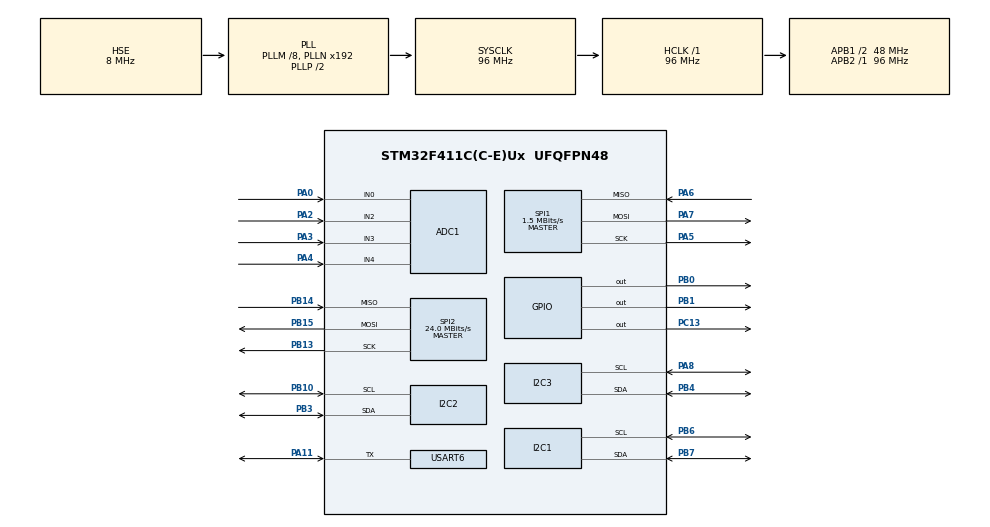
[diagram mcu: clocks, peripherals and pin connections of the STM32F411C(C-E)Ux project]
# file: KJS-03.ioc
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ADC1.Channel-0\#ChannelRegularConversion=ADC_CHANNEL_0
ADC1.Channel-1\#ChannelRegularConversion=ADC_CHANNEL_2
ADC1.Channel-2\#ChannelRegularConversion=ADC_CHANNEL_3
ADC1.Channel-3\#ChannelRegularConversion=ADC_CHANNEL_4
ADC1.NbrOfConversion=4
ADC1.NbrOfConversionFlag=1
ADC1.Rank-0\#ChannelRegularConversion=1
ADC1.Rank-1\#ChannelRegularConversion=2
ADC1.Rank-2\#ChannelRegularConversion=3
ADC1.Rank-3\#ChannelRegularConversion=4
ADC1.SamplingTime-0\#ChannelRegularConversion=ADC_SAMPLETIME_84CYCLES
ADC1.SamplingTime-1\#ChannelRegularConversion=ADC_SAMPLETIME_84CYCLES
ADC1.SamplingTime-2\#ChannelRegularConversion=ADC_SAMPLETIME_84CYCLES
ADC1.SamplingTime-3\#ChannelRegularConversion=ADC_SAMPLETIME_84CYCLES
ADC1.master=1
Dma.Request0=USART6_RX
Dma.USART6_RX.0.Direction=DMA_PERIPH_TO_MEMORY
Dma.USART6_RX.0.FIFOMode=DMA_FIFOMODE_DISABLE
Dma.USART6_RX.0.Instance=DMA2_Stream1
Dma.USART6_RX.0.MemDataAlignment=DMA_MDATAALIGN_BYTE
Dma.USART6_RX.0.MemInc=DMA_MINC_ENABLE
Dma.USART6_RX.0.Mode=DMA_CIRCULAR
Dma.USART6_RX.0.PeriphDataAlignment=DMA_PDATAALIGN_BYTE
Dma.USART6_RX.0.PeriphInc=DMA_PINC_DISABLE
Dma.USART6_RX.0.Priority=DMA_PRIORITY_LOW
FREERTOS.MEMORY_ALLOCATION=0
FREERTOS.Tasks01=ICSTask,2,1000,StartICSTask,Default,NULL,Dynamic,NULL,NULL;LEDTask,-3,128,StartLEDTask,Default,NULL,Dynamic,NULL,NULL;IMUTask,-3,128,StartIMUTask,Default,NULL,Dynamic,NULL,NULL;PSTask,-3,128,StartPSTask,Default,NULL,Dynamic,NULL,NULL;ADCTask,-3,128,StartADCTask,Default,NULL,Dynamic,NULL,NULL;TXBUFFTask,-3,128,StartTXBUFFTask,Default,NULL,Dynamic,NULL,NULL
FREERTOS.configENABLE_FPU=1
I2C2.NoStretchMode=I2C_NOSTRETCH_ENABLE
Mcu.Family=STM32F4
Mcu.Name=STM32F411C(C-E)Ux
Mcu.Package=UFQFPN48
NVIC.DMA2_Stream1_IRQn=true\:5\:0\:false\:false\:true\:true\:false\:true
NVIC.PriorityGroup=NVIC_PRIORITYGROUP_4
NVIC.TIM1_UP_TIM10_IRQn=true\:0\:0\:false\:false\:true\:false\:false\:true
NVIC.TimeBase=TIM1_UP_TIM10_IRQn
NVIC.TimeBaseIP=TIM1
NVIC.USART6_IRQn=true\:5\:0\:false\:false\:true\:true\:true\:true
PA0-WKUP.Signal=ADCx_IN0
PA11.GPIO_PuPd=GPIO_PULLUP
PA11.Mode=Half_duplex(single_wire_mode)
PA11.Signal=USART6_TX
PA13.Mode=Serial_Wire
PA13.Signal=SYS_JTMS-SWDIO
PA14.Mode=Serial_Wire
PA14.Signal=SYS_JTCK-SWCLK
PA2.Signal=ADCx_IN2
PA3.Signal=ADCx_IN3
PA4.Signal=ADCx_IN4
PA5.Mode=Full_Duplex_Master
PA5.Signal=SPI1_SCK
PA6.Mode=Full_Duplex_Master
PA6.Signal=SPI1_MISO
PA7.Mode=Full_Duplex_Master
PA7.Signal=SPI1_MOSI
PA8.Mode=I2C
PA8.Signal=I2C3_SCL
PB0.Signal=GPIO_Output
PB1.Signal=GPIO_Output
PB10.Mode=I2C
PB10.Signal=I2C2_SCL
PB13.Mode=Full_Duplex_Master
PB13.Signal=SPI2_SCK
PB14.Mode=Full_Duplex_Master
PB14.Signal=SPI2_MISO
PB15.Mode=Full_Duplex_Master
PB15.Signal=SPI2_MOSI
PB3.Mode=I2C
PB3.Signal=I2C2_SDA
PB4.Mode=I2C
PB4.Signal=I2C3_SDA
PB6.Mode=I2C
PB6.Signal=I2C1_SCL
PB7.Mode=I2C
PB7.Signal=I2C1_SDA
PC13-ANTI_TAMP.Signal=GPIO_Output
PH0\ -\ OSC_IN.Mode=HSE-External-Oscillator
PH0\ -\ OSC_IN.Signal=RCC_OSC_IN
PH1\ -\ OSC_OUT.Mode=HSE-External-Oscillator
PH1\ -\ OSC_OUT.Signal=RCC_OSC_OUT
ProjectManager.HeapSize=0x200
ProjectManager.StackSize=0x400
ProjectManager.TargetToolchain=STM32CubeIDE
RCC.48MHZClocksFreq_Value=48000000
RCC.AHBFreq_Value=96000000
RCC.APB1CLKDivider=RCC_HCLK_DIV2
RCC.APB1Freq_Value=48000000
RCC.APB1TimFreq_Value=96000000
RCC.APB2Freq_Value=96000000
RCC.APB2TimFreq_Value=96000000
RCC.CortexFreq_Value=96000000
RCC.HCLKFreq_Value=96000000
RCC.HSE_VALUE=8000000
RCC.HSI_VALUE=16000000
RCC.LSE_VALUE=32768
RCC.PLLM=8
RCC.PLLSourceVirtual=RCC_PLLSOURCE_HSE
RCC.SYSCLKFreq_VALUE=96000000
RCC.SYSCLKSource=RCC_SYSCLKSOURCE_PLLCLK
RCC.VCOOutputFreq_Value=192000000
SH.ADCx_IN0.0=ADC1_IN0,IN0
SH.ADCx_IN2.0=ADC1_IN2,IN2
SH.ADCx_IN3.0=ADC1_IN3,IN3
SH.ADCx_IN4.0=ADC1_IN4,IN4
SPI1.BaudRatePrescaler=SPI_BAUDRATEPRESCALER_64
SPI1.CalculateBaudRate=1.5 MBits/s
SPI1.Direction=SPI_DIRECTION_2LINES
SPI1.Mode=SPI_MODE_MASTER
SPI1.VirtualType=VM_MASTER
SPI2.BaudRatePrescaler=SPI_BAUDRATEPRESCALER_2
SPI2.CalculateBaudRate=24.0 MBits/s
SPI2.Direction=SPI_DIRECTION_2LINES
SPI2.Mode=SPI_MODE_MASTER
SPI2.VirtualType=VM_MASTER
USART6.BaudRate=1250000
USART6.OverSampling=UART_OVERSAMPLING_16
USART6.Parity=PARITY_EVEN
USART6.VirtualMode=VM_ASYNC
USART6.WordLength=WORDLENGTH_9B
VP_FREERTOS_VS_CMSIS_V1.Mode=CMSIS_V1
VP_SYS_VS_tim1.Mode=TIM1
board=custom

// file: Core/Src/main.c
/* USER CODE BEGIN Header */
/**
  ******************************************************************************
  * @file           : main.c
  * @brief          : Main program body
  ******************************************************************************
  * @attention
  *
  * <h2><center>&copy; Copyright (c) 2021 STMicroelectronics.
  * All rights reserved.</center></h2>
  *
  * This software component is licensed by ST under BSD 3-Clause license,
  * the "License"; You may not use this file except in compliance with the
  * License. You may obtain a copy of the License at:
  *                        opensource.org/licenses/BSD-3-Clause
  *
  ******************************************************************************
  */
/* USER CODE END Header */
#include "main.h"
#include "cmsis_os.h"

/* USER CODE BEGIN Includes */
#include "ics.h"
/* USER CODE END Includes */

ADC_HandleTypeDef hadc1;

I2C_HandleTypeDef hi2c1;
I2C_HandleTypeDef hi2c2;
I2C_HandleTypeDef hi2c3;

SPI_HandleTypeDef hspi1;
SPI_HandleTypeDef hspi2;

UART_HandleTypeDef huart6;
DMA_HandleTypeDef hdma_usart6_rx;

osThreadId ICSTaskHandle;
osThreadId LEDTaskHandle;
osThreadId IMUTaskHandle;
osThreadId PSTaskHandle;
osThreadId ADCTaskHandle;
osThreadId TXBUFFTaskHandle;

void SystemClock_Config(void);
static void MX_GPIO_Init(void);
static void MX_DMA_Init(void);
static void MX_ADC1_Init(void);
static void MX_I2C1_Init(void);
static void MX_I2C2_Init(void);
static void MX_I2C3_Init(void);
static void MX_SPI1_Init(void);
static void MX_USART6_UART_Init(void);
static void MX_SPI2_Init(void);
void StartICSTask(void const * argument);
void StartLEDTask(void const * argument);
void StartIMUTask(void const * argument);
void StartPSTask(void const * argument);
void StartADCTask(void const * argument);
void StartTXBUFFTask(void const * argument);

/* USER CODE BEGIN PFP */
void mpuWrite(uint8_t, uint8_t);
void ps_select_channel();
void ps_init();
void imu_init();
void ps_update();
void ps_update_single();
void imu_update();
void adc_update();
void sw_update();
void initialise_monitor_handles(void);
uint32_t UART_IsEnabledIT_RX();
uint8_t getlen();
void ics_init();
void ics_init_DMA();
void txbuff_update();

extern uint32_t current_time;
extern uint32_t receive_time1;
extern uint32_t receive_time2;
extern uint32_t receive_time3;
extern uint32_t getUs(void);
extern uint8_t flagRcved;

// dma buffer
static UART_HandleTypeDef *huart_cobs;
#define RX_DMA_WRITE_IDX ( (RX_CIRC_BUF_SZ - ((DMA_Stream_TypeDef *)huart_cobs->hdmarx->Instance)->NDTR) & (RX_CIRC_BUF_SZ - 1) )
//#define RX_DMA_WRITE_IDX ( (RX_CIRC_BUF_SZ - ((DMA_Stream_TypeDef *)huart6.hdmarx->Instance)->NDTR) & (RX_CIRC_BUF_SZ - 1) )

/* USER CODE END PFP */

/* USER CODE BEGIN 0 */
//static uint16_t ADC_Data1[ADC_CHANNEL_NUM];
/* USER CODE END 0 */

int main(void)
{

  /* MCU Configuration--------------------------------------------------------*/

  /* Reset of all peripherals, Initializes the Flash interface and the Systick. */
  HAL_Init();

  /* Configure the system clock */
  SystemClock_Config();

  /* Initialize all configured peripherals */
  MX_GPIO_Init();
  MX_DMA_Init();
  MX_ADC1_Init();
  MX_I2C1_Init();
  MX_I2C2_Init();
  MX_I2C3_Init();
  MX_SPI1_Init();
  MX_USART6_UART_Init();
  MX_SPI2_Init();
  /* USER CODE BEGIN 2 */

  sp.id = 19;

  sp.mode = SC_ALL;//initial value, update all sensor

  sp.board_select = SELECT_revA;
  sp.imu_select = SELECT_ICM_20600;

  sp.it_count = 0;
  sp.uart_error_count = 0;
  sp.check2com_delay = 0;
  sp.count_frame = 0;
  sp.prev_frame = getUs();
  sp.com_en = 0;
  sp.ics_timeout_count = 0;

#if USE_SEMIHOSTING
  initialise_monitor_handles();
#endif

	ics_init_DMA(&huart6);

   if (HAL_ADC_Start(&hadc1) !=  HAL_OK)
   {
  	  Error_Handler();
    }
  	//ics_init(&huart6);

    ps_init(&hi2c2);

    imu_init(&hspi1);

    //receive_time1 = receive_time2 = receive_time3 = getUs();

    //receive_time1: past toggle time
    //receive_time2: past uart_rx interrupt time
    //receive_time3: past receive ics command time

    HAL_HalfDuplex_EnableReceiver(&huart6);
  /* USER CODE END 2 */

  /* Create the thread(s) */
  /* definition and creation of ICSTask */
  osThreadDef(ICSTask, StartICSTask, osPriorityHigh, 0, 1000);
  ICSTaskHandle = osThreadCreate(osThread(ICSTask), NULL);

  /* definition and creation of LEDTask */
  osThreadDef(LEDTask, StartLEDTask, osPriorityIdle, 0, 128);
  LEDTaskHandle = osThreadCreate(osThread(LEDTask), NULL);

  /* definition and creation of IMUTask */
  osThreadDef(IMUTask, StartIMUTask, osPriorityIdle, 0, 128);
  IMUTaskHandle = osThreadCreate(osThread(IMUTask), NULL);

  /* definition and creation of PSTask */
  osThreadDef(PSTask, StartPSTask, osPriorityIdle, 0, 128);
  PSTaskHandle = osThreadCreate(osThread(PSTask), NULL);

  /* definition and creation of ADCTask */
  osThreadDef(ADCTask, StartADCTask, osPriorityIdle, 0, 128);
  ADCTaskHandle = osThreadCreate(osThread(ADCTask), NULL);

  /* definition and creation of TXBUFFTask */
  osThreadDef(TXBUFFTask, StartTXBUFFTask, osPriorityIdle, 0, 128);
  TXBUFFTaskHandle = osThreadCreate(osThread(TXBUFFTask), NULL);

  /* Start scheduler */
  osKernelStart();

  /* We should never get here as control is now taken by the scheduler */
  /* Infinite loop */
  while (1)
  {

  }
}

void SystemClock_Config(void)
{
  RCC_OscInitTypeDef RCC_OscInitStruct = {0};
  RCC_ClkInitTypeDef RCC_ClkInitStruct = {0};

  /** Configure the main internal regulator output voltage
  */
  __HAL_RCC_PWR_CLK_ENABLE();
  __HAL_PWR_VOLTAGESCALING_CONFIG(PWR_REGULATOR_VOLTAGE_SCALE1);
  /** Initializes the RCC Oscillators according to the specified parameters
  * in the RCC_OscInitTypeDef structure.
  */
  RCC_OscInitStruct.OscillatorType = RCC_OSCILLATORTYPE_HSE;
  RCC_OscInitStruct.HSEState = RCC_HSE_ON;
  RCC_OscInitStruct.PLL.PLLState = RCC_PLL_ON;
  RCC_OscInitStruct.PLL.PLLSource = RCC_PLLSOURCE_HSE;
  RCC_OscInitStruct.PLL.PLLM = 8;
  RCC_OscInitStruct.PLL.PLLN = 192;
  RCC_OscInitStruct.PLL.PLLP = RCC_PLLP_DIV2;
  RCC_OscInitStruct.PLL.PLLQ = 4;
  if (HAL_RCC_OscConfig(&RCC_OscInitStruct) != HAL_OK)
  {
    Error_Handler();
  }
  /** Initializes the CPU, AHB and APB buses clocks
  */
  RCC_ClkInitStruct.ClockType = RCC_CLOCKTYPE_HCLK|RCC_CLOCKTYPE_SYSCLK
                              |RCC_CLOCKTYPE_PCLK1|RCC_CLOCKTYPE_PCLK2;
  RCC_ClkInitStruct.SYSCLKSource = RCC_SYSCLKSOURCE_PLLCLK;
  RCC_ClkInitStruct.AHBCLKDivider = RCC_SYSCLK_DIV1;
  RCC_ClkInitStruct.APB1CLKDivider = RCC_HCLK_DIV2;
  RCC_ClkInitStruct.APB2CLKDivider = RCC_HCLK_DIV1;

  if (HAL_RCC_ClockConfig(&RCC_ClkInitStruct, FLASH_LATENCY_3) != HAL_OK)
  {
    Error_Handler();
  }
}

static void MX_ADC1_Init(void)
{

  ADC_ChannelConfTypeDef sConfig = {0};

  /** Configure the global features of the ADC (Clock, Resolution, Data Alignment and number of conversion)
  */
  hadc1.Instance = ADC1;
  hadc1.Init.ClockPrescaler = ADC_CLOCK_SYNC_PCLK_DIV4;
  hadc1.Init.Resolution = ADC_RESOLUTION_12B;
  hadc1.Init.ScanConvMode = ENABLE;
  hadc1.Init.ContinuousConvMode = DISABLE;
  hadc1.Init.DiscontinuousConvMode = DISABLE;
  hadc1.Init.ExternalTrigConvEdge = ADC_EXTERNALTRIGCONVEDGE_NONE;
  hadc1.Init.ExternalTrigConv = ADC_SOFTWARE_START;
  hadc1.Init.DataAlign = ADC_DATAALIGN_RIGHT;
  hadc1.Init.NbrOfConversion = 4;
  hadc1.Init.DMAContinuousRequests = DISABLE;
  hadc1.Init.EOCSelection = ADC_EOC_SINGLE_CONV;
  if (HAL_ADC_Init(&hadc1) != HAL_OK)
  {
    Error_Handler();
  }
  /** Configure for the selected ADC regular channel its corresponding rank in the sequencer and its sample time.
  */
  sConfig.Channel = ADC_CHANNEL_0;
  sConfig.Rank = 1;
  sConfig.SamplingTime = ADC_SAMPLETIME_84CYCLES;
  if (HAL_ADC_ConfigChannel(&hadc1, &sConfig) != HAL_OK)
  {
    Error_Handler();
  }
  /** Configure for the selected ADC regular channel its corresponding rank in the sequencer and its sample time.
  */
  sConfig.Channel = ADC_CHANNEL_2;
  sConfig.Rank = 2;
  if (HAL_ADC_ConfigChannel(&hadc1, &sConfig) != HAL_OK)
  {
    Error_Handler();
  }
  /** Configure for the selected ADC regular channel its corresponding rank in the sequencer and its sample time.
  */
  sConfig.Channel = ADC_CHANNEL_3;
  sConfig.Rank = 3;
  if (HAL_ADC_ConfigChannel(&hadc1, &sConfig) != HAL_OK)
  {
    Error_Handler();
  }
  /** Configure for the selected ADC regular channel its corresponding rank in the sequencer and its sample time.
  */
  sConfig.Channel = ADC_CHANNEL_4;
  sConfig.Rank = 4;
  if (HAL_ADC_ConfigChannel(&hadc1, &sConfig) != HAL_OK)
  {
    Error_Handler();
  }

}

static void MX_I2C1_Init(void)
{

  hi2c1.Instance = I2C1;
  hi2c1.Init.ClockSpeed = 100000;
  hi2c1.Init.DutyCycle = I2C_DUTYCYCLE_2;
  hi2c1.Init.OwnAddress1 = 0;
  hi2c1.Init.AddressingMode = I2C_ADDRESSINGMODE_7BIT;
  hi2c1.Init.DualAddressMode = I2C_DUALADDRESS_DISABLE;
  hi2c1.Init.OwnAddress2 = 0;
  hi2c1.Init.GeneralCallMode = I2C_GENERALCALL_DISABLE;
  hi2c1.Init.NoStretchMode = I2C_NOSTRETCH_DISABLE;
  if (HAL_I2C_Init(&hi2c1) != HAL_OK)
  {
    Error_Handler();
  }

}

static void MX_I2C2_Init(void)
{

  hi2c2.Instance = I2C2;
  hi2c2.Init.ClockSpeed = 100000;
  hi2c2.Init.DutyCycle = I2C_DUTYCYCLE_2;
  hi2c2.Init.OwnAddress1 = 0;
  hi2c2.Init.AddressingMode = I2C_ADDRESSINGMODE_7BIT;
  hi2c2.Init.DualAddressMode = I2C_DUALADDRESS_DISABLE;
  hi2c2.Init.OwnAddress2 = 0;
  hi2c2.Init.GeneralCallMode = I2C_GENERALCALL_DISABLE;
  hi2c2.Init.NoStretchMode = I2C_NOSTRETCH_ENABLE;
  if (HAL_I2C_Init(&hi2c2) != HAL_OK)
  {
    Error_Handler();
  }

}

static void MX_I2C3_Init(void)
{

  hi2c3.Instance = I2C3;
  hi2c3.Init.ClockSpeed = 100000;
  hi2c3.Init.DutyCycle = I2C_DUTYCYCLE_2;
  hi2c3.Init.OwnAddress1 = 0;
  hi2c3.Init.AddressingMode = I2C_ADDRESSINGMODE_7BIT;
  hi2c3.Init.DualAddressMode = I2C_DUALADDRESS_DISABLE;
  hi2c3.Init.OwnAddress2 = 0;
  hi2c3.Init.GeneralCallMode = I2C_GENERALCALL_DISABLE;
  hi2c3.Init.NoStretchMode = I2C_NOSTRETCH_DISABLE;
  if (HAL_I2C_Init(&hi2c3) != HAL_OK)
  {
    Error_Handler();
  }

}

static void MX_SPI1_Init(void)
{

  /* SPI1 parameter configuration*/
  hspi1.Instance = SPI1;
  hspi1.Init.Mode = SPI_MODE_MASTER;
  hspi1.Init.Direction = SPI_DIRECTION_2LINES;
  hspi1.Init.DataSize = SPI_DATASIZE_8BIT;
  hspi1.Init.CLKPolarity = SPI_POLARITY_LOW;
  hspi1.Init.CLKPhase = SPI_PHASE_1EDGE;
  hspi1.Init.NSS = SPI_NSS_SOFT;
  hspi1.Init.BaudRatePrescaler = SPI_BAUDRATEPRESCALER_64;
  hspi1.Init.FirstBit = SPI_FIRSTBIT_MSB;
  hspi1.Init.TIMode = SPI_TIMODE_DISABLE;
  hspi1.Init.CRCCalculation = SPI_CRCCALCULATION_DISABLE;
  hspi1.Init.CRCPolynomial = 10;
  if (HAL_SPI_Init(&hspi1) != HAL_OK)
  {
    Error_Handler();
  }

}

static void MX_SPI2_Init(void)
{

  /* SPI2 parameter configuration*/
  hspi2.Instance = SPI2;
  hspi2.Init.Mode = SPI_MODE_MASTER;
  hspi2.Init.Direction = SPI_DIRECTION_2LINES;
  hspi2.Init.DataSize = SPI_DATASIZE_8BIT;
  hspi2.Init.CLKPolarity = SPI_POLARITY_LOW;
  hspi2.Init.CLKPhase = SPI_PHASE_1EDGE;
  hspi2.Init.NSS = SPI_NSS_SOFT;
  hspi2.Init.BaudRatePrescaler = SPI_BAUDRATEPRESCALER_2;
  hspi2.Init.FirstBit = SPI_FIRSTBIT_MSB;
  hspi2.Init.TIMode = SPI_TIMODE_DISABLE;
  hspi2.Init.CRCCalculation = SPI_CRCCALCULATION_DISABLE;
  hspi2.Init.CRCPolynomial = 10;
  if (HAL_SPI_Init(&hspi2) != HAL_OK)
  {
    Error_Handler();
  }

}

static void MX_USART6_UART_Init(void)
{

  huart6.Instance = USART6;
  huart6.Init.BaudRate = 1250000;
  huart6.Init.WordLength = UART_WORDLENGTH_9B;
  huart6.Init.StopBits = UART_STOPBITS_1;
  huart6.Init.Parity = UART_PARITY_EVEN;
  huart6.Init.Mode = UART_MODE_TX_RX;
  huart6.Init.HwFlowCtl = UART_HWCONTROL_NONE;
  huart6.Init.OverSampling = UART_OVERSAMPLING_16;
  if (HAL_HalfDuplex_Init(&huart6) != HAL_OK)
  {
    Error_Handler();
  }

}

static void MX_DMA_Init(void)
{

  /* DMA controller clock enable */
  __HAL_RCC_DMA2_CLK_ENABLE();

  /* DMA interrupt init */
  /* DMA2_Stream1_IRQn interrupt configuration */
  HAL_NVIC_SetPriority(DMA2_Stream1_IRQn, 5, 0);
  HAL_NVIC_EnableIRQ(DMA2_Stream1_IRQn);

}

static void MX_GPIO_Init(void)
{
  GPIO_InitTypeDef GPIO_InitStruct = {0};

  /* GPIO Ports Clock Enable */
  __HAL_RCC_GPIOC_CLK_ENABLE();
  __HAL_RCC_GPIOH_CLK_ENABLE();
  __HAL_RCC_GPIOA_CLK_ENABLE();
  __HAL_RCC_GPIOB_CLK_ENABLE();

  /*Configure GPIO pin Output Level */
  HAL_GPIO_WritePin(GPIOC, GPIO_PIN_13, GPIO_PIN_RESET);

  /*Configure GPIO pin Output Level */
  HAL_GPIO_WritePin(GPIOB, GPIO_PIN_0|GPIO_PIN_1, GPIO_PIN_RESET);

  /*Configure GPIO pin : PC13 */
  GPIO_InitStruct.Pin = GPIO_PIN_13;
  GPIO_InitStruct.Mode = GPIO_MODE_OUTPUT_PP;
  GPIO_InitStruct.Pull = GPIO_NOPULL;
  GPIO_InitStruct.Speed = GPIO_SPEED_FREQ_LOW;
  HAL_GPIO_Init(GPIOC, &GPIO_InitStruct);

  /*Configure GPIO pins : PB0 PB1 */
  GPIO_InitStruct.Pin = GPIO_PIN_0|GPIO_PIN_1;
  GPIO_InitStruct.Mode = GPIO_MODE_OUTPUT_PP;
  GPIO_InitStruct.Pull = GPIO_NOPULL;
  GPIO_InitStruct.Speed = GPIO_SPEED_FREQ_LOW;
  HAL_GPIO_Init(GPIOB, &GPIO_InitStruct);

}

/* USER CODE BEGIN 4 */
void HAL_UART_ErrorCallback_old(UART_HandleTypeDef *huart){
	sp.uart_error[0] = huart6.Lock;
	sp.uart_error[1] = huart6.gState;
	sp.uart_error[2] = huart6.RxState;
	sp.uart_error[3] = huart6.ErrorCode & 0x000000ff;
  //MX_GPIO_Init();
  HAL_UART_Abort(&huart6);
	//start HAL_UART_Abort
	//CLEAR_BIT(huart->Instance->CR1, (USART_CR1_RXNEIE | USART_CR1_PEIE | USART_CR1_TXEIE | USART_CR1_TCIE));
	//CLEAR_BIT(huart->Instance->CR3, USART_CR3_EIE);
	//end HAL_UART_Abort
  //MX_USART6_UART_Init();
  //CLEAR_BIT(huart->Instance->SR, (USART_SR_PE | USART_SR_FE | USART_SR_ORE | USART_SR_NE));
  //CLEAR_BIT(huart->Instance->SR, (USART_SR_ORE));

  //CLEAR_BIT(huart->Instance->CR1, (USART_CR1_RXNEIE | USART_CR1_PEIE));//minimum reset + RX_It reset
  //CLEAR_BIT(huart->Instance->CR1, (USART_CR1_PEIE));//minimum reset
  //huart6.RxState=HAL_UART_STATE_READY;
  //huart6.ErrorCode=HAL_UART_ERROR_NONE;
  //__HAL_UART_DISABLE_IT(huart, UART_IT_ERR);
  //  MX_I2C2_Init();
  //  ps_init(&hi2c1);
  HAL_HalfDuplex_EnableReceiver(&huart6);
  flagRcved = IT_FLAG_FALSE;

  if(sp.uart_error_count < 4096){
	  sp.uart_error_count += 1;
  }
  //sp.mode = SC_ALL; //initial value, update all sensor
  //NVIC_SystemReset();
}
void HAL_I2C_ErrorCallback(I2C_HandleTypeDef *hi2c){
  MX_GPIO_Init();
  MX_I2C2_Init();
  ps_init(&hi2c2);
  //sp.mode = SC_ALL; //initial value, update all sensor
}
void HAL_ADC_ErrorCallback(ADC_HandleTypeDef *hadc){
  MX_GPIO_Init();
  MX_ADC1_Init();
  if (HAL_ADC_Start(&hadc1) !=  HAL_OK)
    {
      Error_Handler();
    }
  //sp.mode = SC_ALL; //initial value, update all sensor
}
void HAL_SPI_ErrorCallback(SPI_HandleTypeDef *hspi){
  MX_GPIO_Init();
  MX_SPI1_Init();
  imu_init(&hspi1);
  //sp.mode = SC_ALL; //initial value, update all sensor
}

void ics_init_DMA(UART_HandleTypeDef *huart)
{
    huart_cobs = huart;
    memset(sp.rx_dma_circ_buf, 0, sizeof(sp.rx_dma_circ_buf));

    __HAL_UART_DISABLE_IT(huart_cobs, UART_IT_PE);//parity error interrupt
    __HAL_UART_DISABLE_IT(huart_cobs, UART_IT_ERR);//other error interrupt

    __HAL_UART_DISABLE_IT(huart_cobs, UART_IT_TXE); //txe interrupt
    __HAL_UART_DISABLE_IT(huart_cobs, UART_IT_TC); //transmission complete interrupt

    HAL_HalfDuplex_EnableTransmitter(huart_cobs);
    HAL_UART_Receive_DMA(huart_cobs, sp.rx_dma_circ_buf, RX_CIRC_BUF_SZ);
    memset(sp.txbuff, 0, sizeof(sp.txbuff));
    sp.txbuff[0] = 0x20 | sp.id;
    sp.rd_idx = 0;
}

void HAL_UART_ErrorCallback(UART_HandleTypeDef *huart)
{
	sp.uart_error[0] = huart6.Lock;
	sp.uart_error[1] = huart6.gState;
	sp.uart_error[2] = huart6.RxState;
	sp.uart_error[3] = huart6.ErrorCode & 0x000000ff;
	memset(sp.rx_dma_circ_buf, 0, sizeof(sp.rx_dma_circ_buf));

	HAL_UART_Abort(huart);

	if(sp.uart_error_count < 4096){
		sp.uart_error_count += 1;
	}else{
		sp.uart_error_count = 0;
	}
	//HAL_HalfDuplex_EnableReceiver(&huart6);
	HAL_HalfDuplex_EnableReceiver(huart_cobs);
	HAL_UART_Receive_DMA(huart_cobs, sp.rx_dma_circ_buf, RX_CIRC_BUF_SZ);
	sp.rd_idx = 0;
	//	_Error_Handler("isrSensors.c, uart error",53);
}
/* USER CODE END 4 */

void StartICSTask(void const * argument)
{
  /* USER CODE BEGIN 5 */
	uint8_t sensor_flag;
	uint8_t ret;
	uint8_t tx_length;
  /* Infinite loop */
  for(;;)
  {
	  sp.count_frame = getUs() - sp.prev_frame;
	  if (__HAL_UART_GET_FLAG(&huart6, UART_FLAG_ORE) ||
			  __HAL_UART_GET_FLAG(&huart6, UART_FLAG_NE) ||
			  __HAL_UART_GET_FLAG(&huart6, UART_FLAG_FE) ||
			  __HAL_UART_GET_FLAG(&huart6, UART_FLAG_PE) ){
		  HAL_UART_Abort(&huart6);
	  }
	  if((sp.count_frame > UART_TIMEOUT_TIME) & (sp.com_en == 0x01)){
		  //NVIC_SystemReset();
		  sp.com_en = 0x00;
		  sp.it_count = 0;
		  sp.ics_timeout_count += 1;
		  HAL_UART_ErrorCallback(&huart6);
	  }
	  if (sp.rd_idx == RX_DMA_WRITE_IDX){
		  osDelay(1);
	  }else{
	  	  sp.rxbuff[0] = sp.rx_dma_circ_buf[sp.rd_idx++];//
	  	  sp.rd_idx &= (RX_CIRC_BUF_SZ - 1);//128 = 0
	  	  if(((sp.rxbuff[0] & 0xE0) == 0xA0) && (sp.rxbuff[0] & 0x1f) == sp.id){
	  		  sp.prev_frame = getUs();
		  	  sp.rxbuff[1] = sp.rx_dma_circ_buf[sp.rd_idx++];//
		  	  sp.rd_idx &= (RX_CIRC_BUF_SZ - 1);//128 = 0
	  		  sensor_flag = sp.rxbuff[1];
	  		  if ((sensor_flag & SC_NONE) == SC_NONE){
	  			  sp.mode = sensor_flag;
	  			  if(sp.it_count < 4096){
	  				  sp.it_count += 1;
				  }else{
					  sp.it_count = 0;
				  }
			  }
	  		  if((sp.it_count == 1) & (sp.check2com_delay == 0)){
	  			  sp.check2com_delay = sp.prev_frame;
	  		  }
	  		  if((sp.it_count == COM_EN_IT_NUM) & (sp.com_en == 0x00)){
	  			  sp.check2com_delay = getUs() - sp.check2com_delay;
  				  sp.com_en |= 0x01;
	  		  }
	  		  sp.txbuff[1] = sensor_flag;
	  		  tx_length = getlen(sp.mode);
	  		  //taskENTER_CRITICAL();
	  		  for(int i = 0; i < MAX_TXBUFF_LEN; i++) {
	  			  sp.txbuff[i] &= 0x7f;
	  		  }
	  		  HAL_HalfDuplex_EnableTransmitter(&huart6);
	  		  ret = HAL_UART_Transmit(&huart6, sp.txbuff, tx_length, HAL_MAX_DELAY);
	  		  //HAL_UART_Transmit_IT(&huart6, sp.txbuff, tx_length);
	  		  HAL_HalfDuplex_EnableReceiver(&huart6);
	  		  //taskEXIT_CRITICAL();
			  }
	  	  }
  }
  /* USER CODE END 5 */
}

void StartLEDTask(void const * argument)
{
  /* USER CODE BEGIN StartLEDTask */
  /* Infinite loop */
  for(;;)
  {
	  	if(sp.com_en == 0x01){
	  		HAL_GPIO_TogglePin(LED_PORT,LED_PIN);
	  	}
	    osDelay(100);
	  //if (current_time - receive_time1 > LED_TOGGLE_TIME) {
	  //receive_time1 = current_time;
	  //}
  }
  /* USER CODE END StartLEDTask */
}

void StartIMUTask(void const * argument)
{
  /* USER CODE BEGIN StartIMUTask */
  /* Infinite loop */
  for(;;)
  {
	  if(((sp.mode & SC_GYRO) == SC_GYRO) || ((sp.mode & SC_ACC) == SC_ACC)){
		  imu_update(&hspi1);
	  }
    osDelay(1);
  }
  /* USER CODE END StartIMUTask */
}

void StartPSTask(void const * argument)
{
  /* USER CODE BEGIN StartPSTask */
  /* Infinite loop */
  for(;;)
  {
	  if((sp.mode & SC_PS) == SC_PS){
		  ps_update(&hi2c2);
	  }

    osDelay(1);
  }
  /* USER CODE END StartPSTask */
}

void StartADCTask(void const * argument)
{
  /* USER CODE BEGIN StartADCTask */
  /* Infinite loop */
  for(;;)
  {
	 if((sp.mode & SC_SW_ADC) == SC_SW_ADC){
		 adc_update(&hadc1);
	 }
	 osDelay(1);
  }
  /* USER CODE END StartADCTask */
}

void StartTXBUFFTask(void const * argument)
{
  /* USER CODE BEGIN StartTXBUFFTask */
  /* Infinite loop */
  for(;;)
  {
	txbuff_update();
    osDelay(1);
  }
  /* USER CODE END StartTXBUFFTask */
}

 /**
  * @brief  Period elapsed callback in non blocking mode
  * @note   This function is called  when TIM1 interrupt took place, inside
  * HAL_TIM_IRQHandler(). It makes a direct call to HAL_IncTick() to increment
  * a global variable "uwTick" used as application time base.
  * @param  htim : TIM handle
  * @retval None
  */
void HAL_TIM_PeriodElapsedCallback(TIM_HandleTypeDef *htim)
{
  if (htim->Instance == TIM1) {
    HAL_IncTick();
  }
}

void Error_Handler(void)
{
  __disable_irq();
  while (1)
  {
  }
}

/************************ (C) COPYRIGHT STMicroelectronics *****END OF FILE****/
